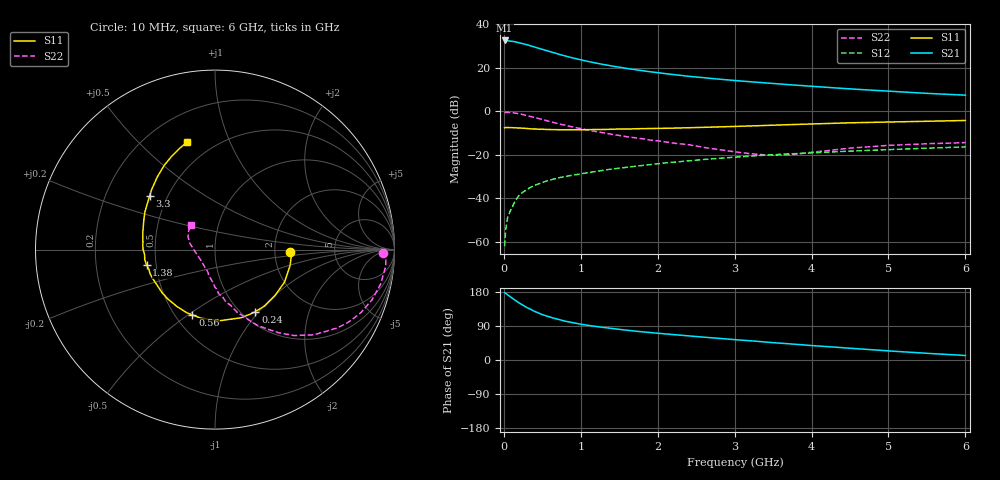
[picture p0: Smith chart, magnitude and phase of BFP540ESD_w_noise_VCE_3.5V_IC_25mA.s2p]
! Infineon Technologies  Discrete & RF Semiconductors
! BFP540ESD
! VCE =  3.5 V,  IC =  25 mA
! Common Emitter S-Parameters:  Nov 2015
# GHz  S  MA  R  50
!  f  S11  S21  S12  S22
! GHz  MAG  ANG  MAG  ANG  MAG  ANG  MAG  ANG
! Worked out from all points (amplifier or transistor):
!   210 points, 10 MHz to 6 GHz, reference 50 ohm
!   highest |S21| = 32.6 dB at 10 MHz (marker M1)
!   |S21| within 3 dB of that: start of sweep to 397.5 MHz
!   unconditionally stable (mu >= 1): start of sweep to 14.74 MHz; 2.017 GHz to end of sweep
!   at 185 MHz: K = 0.24, MSG = 35.5 dB, |S12| = -39.3 dB
!   at 1.52 GHz: K = 0.92, MSG = 23.1 dB, |S12| = -26.0 dB
!   at 6 GHz: K = 1.11, MAG = 9.9 dB, |S12| = -16.3 dB
!   lowest NFmin = 1.29 dB at 900 MHz
!   S11 on the Smith chart (normalised r, x): 10 MHz: 2.45, -0.07; 240 MHz: 1.15, -0.96; 560 MHz: 0.61, -0.52; 1.38 GHz: 0.44, -0.09; 3.3 GHz: 0.40, +0.30; 6 GHz: 0.36, +0.71
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0.01  0.4205 -1.6  42.88 177.5  0.0008 87.6  0.9382 -1.1
0.1  0.4275 -25.0  41.13 164.4  0.0058 77.7  0.9422 -11.9
0.15  0.4213 -37.3  39.87 157.2  0.0088 78.3  0.9182 -17.8
0.2  0.4186 -48.6  38.13 150.4  0.0118 76.9  0.8858 -23.3
0.24  0.4124 -56.9  36.55 145.4  0.0136 72.5  0.8552 -27.3
0.3  0.4065 -69.2  34.25 138.3  0.0161 70.9  0.8068 -32.9
0.4  0.3973 -86.6  30.27 128.2  0.0201 67.7  0.7266 -40.8
0.5  0.3899 -101.9  26.78 119.7  0.0233 63.8  0.6506 -47.4
0.56  0.3851 -109.1  24.81 115.9  0.0253 62.6  0.6102 -50.3
0.6  0.3854 -114.0  23.57 113.0  0.0266 61.9  0.5843 -52.5
0.7  0.3813 -123.9  21.04 107.4  0.0295 62.6  0.5285 -56.8
0.8  0.3805 -133.7  18.79 102.3  0.0321 60.9  0.4791 -61.1
1.02  0.3792 -148.9  15.09 93.9  0.0374 60.0  0.3957 -67.7
1.38  0.39 -167.2  11.3 83.7  0.0469 58.3  0.3035 -77.3
1.7  0.4004 -179.5  9.16 76.3  0.0549 56.5  0.2492 -84.8
2.02  0.4076 170.9  7.691 70.2  0.0634 55.0  0.2095 -90.1
2.6  0.4324 156.1  5.941 60.2  0.0787 51.1  0.1487 -103.6
3.1  0.4576 145.1  4.981 52.3  0.0914 47.1  0.1125 -120.3
3.3  0.4701 140.9  4.674 49.2  0.0964 45.2  0.1033 -131.7
4.1  0.5224 126.9  3.684 36.8  0.1141 38.0  0.12 179.1
5.1  0.5788 113.5  2.862 22.8  0.1348 29.0  0.1688 152.3
6  0.6198 104.4  2.369 11.8  0.1529 22.1  0.1925 133.7
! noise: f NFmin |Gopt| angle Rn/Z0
0.9  1.29  0.34  -137  0.12
1.8  1.44  0.36  -143  0.12
2.4  1.47  0.37  -133  0.13
3  1.58  0.39  -128  0.15
4  1.65  0.49  -105  0.26
5  1.76  0.57  -87  0.4
6  2.09  0.56  -87  0.63
